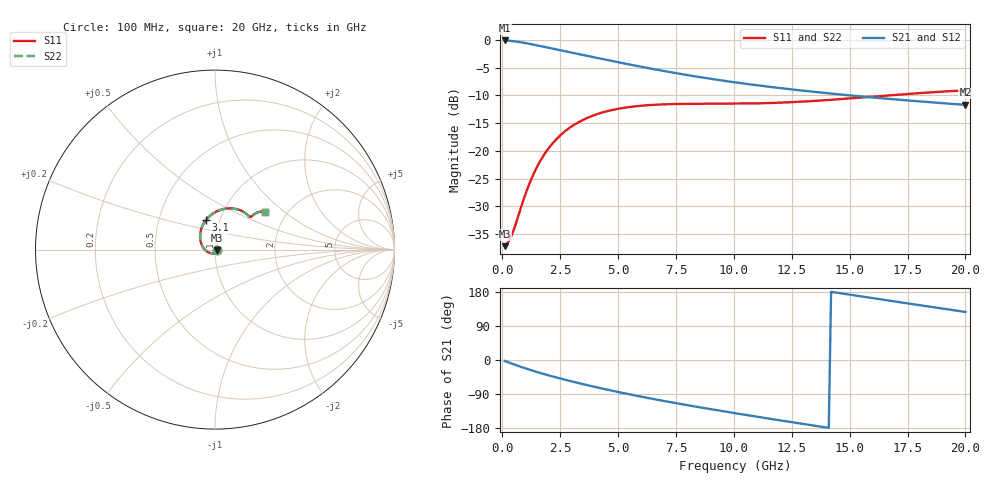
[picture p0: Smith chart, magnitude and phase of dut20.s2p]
! Touchstone file exported from HFSS 2023.1.0
!  File:  D:/Users/fzz/RDL_TSV/temp_RDL_TSV_20_1778743440.aedt
!  Generated:  3:33:24 %x4E0B%x5348  5%x6708 14, 2026
!  Design:  RDL_TSV
!  Project:  temp_RDL_TSV_20_1778743440
!  Setup:  Setup1
!  Solution:  Sweep
! Variables:
!  dtsv = 15.56um
!  hbump = 3um
!  htsv = 91.16um
!  ldown = 605.74um
!  lrdl = 309.29um
!  p = 40
!  p1 = 59.93um
!  rhole = 10um
!  subl = 3054.38um
!  t = 450um
!  tdown = 4.05um
!  trdl = 3.56um
!  viad = 10um
!  wdown = 24.32um
!  wrdl = 18.36um
!  xbump = 18um
# GHz S MA R 50.000000
! Terminal data exported
! Port[1] = TM1_1_T1
! Port[2] = TM1_4_T1
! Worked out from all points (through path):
!   200 points, 100 MHz to 20 GHz, reference 50 ohm
!   highest |S21| = -0.13 dB at 100 MHz (marker M1); lowest = -11.7 dB at 20 GHz (marker M2)
!   group delay of S21, straight-line fit = 30.2 ps
!   lowest |S11| = -37.2 dB at 100 MHz (marker M3), VSWR 1.03, Z = 51.3 - j0.441 ohm
!   |S11| at or under -10 dB: start of sweep to 16.74 GHz
!   |S22| runs from -37.2 to -9.1 dB; largest |S21 - S12| = 1.6e-14
!   S11 on the Smith chart (normalised r, x): 100 MHz: 1.03, -0.01; 3.1 GHz: 0.86, +0.29; 20 GHz: 1.55, +0.75
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0.1  0.01386 -18.1  0.9855 -2.4  0.9855 -2.4  0.01386 -18.1
! Gamma 0 0 0 0
! Port Impedance 50 0 50 0
0.3  0.01565 -59.4  0.9795 -7.0  0.9795 -7.0  0.01565 -59.3
0.4  0.01728 -78.6  0.9751 -9.3  0.9751 -9.3  0.01729 -78.6
0.8  0.03059 -138.6  0.9498 -18.0  0.9498 -18.0  0.03058 -138.5
1.1  0.04642 -167.4  0.9254 -24.2  0.9254 -24.2  0.04637 -167.3
1.3  0.05868 178.0  0.9079 -28.0  0.9079 -28.0  0.0586 178.0
1.6  0.0784 160.3  0.8812 -33.6  0.8812 -33.6  0.07827 160.4
1.9  0.09864 146.1  0.8548 -38.8  0.8548 -38.8  0.09847 146.2
2.3  0.125 130.7  0.8208 -45.5  0.8208 -45.5  0.1247 130.7
2.7  0.1495 118.0  0.7884 -51.9  0.7884 -51.9  0.1492 118.1
3.1  0.1714 107.4  0.7575 -58.0  0.7575 -58.0  0.1711 107.4
3.5  0.1906 98.3  0.7279 -63.9  0.7279 -63.9  0.1902 98.3
4.2  0.2175 85.2  0.679 -73.8  0.679 -73.8  0.2171 85.2
5.1  0.2411 72.3  0.6218 -85.7  0.6218 -85.7  0.2405 72.3
5.9  0.2537 63.6  0.5764 -95.6  0.5764 -95.6  0.2531 63.6
6.8  0.2612 56.2  0.5313 -106.1  0.5313 -106.1  0.2606 56.2
8.3  0.2651 48.2  0.4692 -122.5  0.4692 -122.5  0.2644 48.2
10.1  0.2659 43.7  0.4123 -140.8  0.4123 -140.8  0.2652 43.7
11.7  0.27 42.5  0.3735 -156.4  0.3735 -156.4  0.2694 42.5
13.4  0.2809 42.3  0.3409 -172.6  0.3409 -172.6  0.2803 42.3
16.7  0.3158 41.1  0.2935 156.8  0.2935 156.8  0.3152 41.1
20  0.3505 37.2  0.2595 126.7  0.2595 126.7  0.3499 37.2
